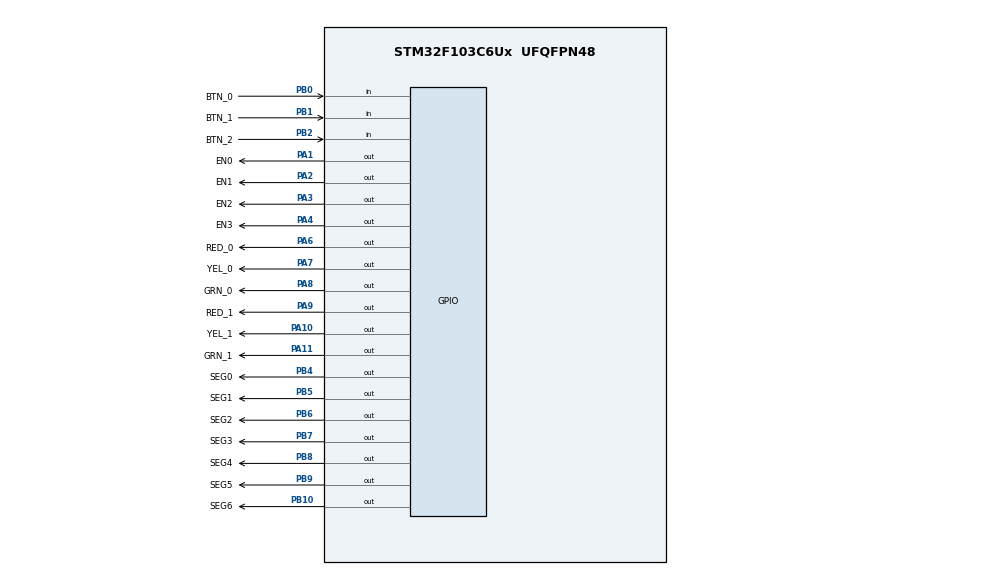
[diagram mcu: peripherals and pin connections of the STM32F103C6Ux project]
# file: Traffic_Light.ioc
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Mcu.Family=STM32F1
Mcu.Name=STM32F103C6Ux
Mcu.Package=UFQFPN48
NVIC.PriorityGroup=NVIC_PRIORITYGROUP_4
NVIC.TIM2_IRQn=true\:0\:0\:false\:false\:true\:true\:true\:true
PA1.GPIO_Label=EN0
PA1.Signal=GPIO_Output
PA10.GPIO_Label=YEL_1
PA10.Signal=GPIO_Output
PA11.GPIO_Label=GRN_1
PA11.Signal=GPIO_Output
PA13.Mode=Serial_Wire
PA13.Signal=SYS_JTMS-SWDIO
PA14.Mode=Serial_Wire
PA14.Signal=SYS_JTCK-SWCLK
PA2.GPIO_Label=EN1
PA2.Signal=GPIO_Output
PA3.GPIO_Label=EN2
PA3.Signal=GPIO_Output
PA4.GPIO_Label=EN3
PA4.Signal=GPIO_Output
PA6.GPIO_Label=RED_0
PA6.Signal=GPIO_Output
PA7.GPIO_Label=YEL_0
PA7.Signal=GPIO_Output
PA8.GPIO_Label=GRN_0
PA8.Signal=GPIO_Output
PA9.GPIO_Label=RED_1
PA9.Signal=GPIO_Output
PB0.GPIO_Label=BTN_0
PB0.Signal=GPIO_Input
PB1.GPIO_Label=BTN_1
PB1.Signal=GPIO_Input
PB10.GPIO_Label=SEG6
PB10.Signal=GPIO_Output
PB2.GPIO_Label=BTN_2
PB2.Signal=GPIO_Input
PB4.GPIO_Label=SEG0
PB4.Signal=GPIO_Output
PB5.GPIO_Label=SEG1
PB5.Signal=GPIO_Output
PB6.GPIO_Label=SEG2
PB6.Signal=GPIO_Output
PB7.GPIO_Label=SEG3
PB7.Signal=GPIO_Output
PB8.GPIO_Label=SEG4
PB8.Signal=GPIO_Output
PB9.GPIO_Label=SEG5
PB9.Signal=GPIO_Output
ProjectManager.HeapSize=0x200
ProjectManager.StackSize=0x400
ProjectManager.TargetToolchain=STM32CubeIDE
RCC.APB1Freq_Value=8000000
RCC.APB2Freq_Value=8000000
TIM2.Period=9
TIM2.Prescaler=7999
VP_TIM2_VS_ClockSourceINT.Mode=Internal
board=custom

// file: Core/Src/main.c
/* USER CODE BEGIN Header */
/**
  ******************************************************************************
  * @file           : main.c
  * @brief          : Main program body
  ******************************************************************************
  * @attention
  *
  * Copyright (c) 2022 STMicroelectronics.
  * All rights reserved.
  *
  * This software is licensed under terms that can be found in the LICENSE file
  * in the root directory of this software component.
  * If no LICENSE file comes with this software, it is provided AS-IS.
  *
  ******************************************************************************
  */
/* USER CODE END Header */
#include "main.h"
#include "tim.h"
#include "gpio.h"

/* USER CODE BEGIN Includes */
#include "global.h"
#include "input_reading.h"
#include "fsm_for_multi_mode.h"
/* USER CODE END Includes */

void SystemClock_Config(void);

int main(void)
{

  /* MCU Configuration--------------------------------------------------------*/

  /* Reset of all peripherals, Initializes the Flash interface and the Systick. */
  HAL_Init();

  /* Configure the system clock */
  SystemClock_Config();

  /* Initialize all configured peripherals */
  MX_GPIO_Init();
  MX_TIM2_Init();
  /* USER CODE BEGIN 2 */
  HAL_TIM_Base_Start_IT(&htim2);
  setTimer1(10);
  /* USER CODE END 2 */

  /* Infinite loop */
  /* USER CODE BEGIN WHILE */
  while (1)
  {
	  if(is_button_double_pressed(0)) {
		  HAL_GPIO_TogglePin(RED_0_GPIO_Port, RED_0_Pin);
	  }
	  if(is_button_pressed(0)) {
		  HAL_GPIO_TogglePin(YEL_0_GPIO_Port, YEL_0_Pin);
	  }
	  if(timer1_flag == 1 && is_button_hold(0)) {
		  setTimer1(500);
		  HAL_GPIO_TogglePin(GRN_0_GPIO_Port, GRN_0_Pin);
	  }
    /* USER CODE END WHILE */

  }
}

void SystemClock_Config(void)
{
  RCC_OscInitTypeDef RCC_OscInitStruct = {0};
  RCC_ClkInitTypeDef RCC_ClkInitStruct = {0};

  /** Initializes the RCC Oscillators according to the specified parameters
  * in the RCC_OscInitTypeDef structure.
  */
  RCC_OscInitStruct.OscillatorType = RCC_OSCILLATORTYPE_HSI;
  RCC_OscInitStruct.HSIState = RCC_HSI_ON;
  RCC_OscInitStruct.HSICalibrationValue = RCC_HSICALIBRATION_DEFAULT;
  RCC_OscInitStruct.PLL.PLLState = RCC_PLL_NONE;
  if (HAL_RCC_OscConfig(&RCC_OscInitStruct) != HAL_OK)
  {
    Error_Handler();
  }

  /** Initializes the CPU, AHB and APB buses clocks
  */
  RCC_ClkInitStruct.ClockType = RCC_CLOCKTYPE_HCLK|RCC_CLOCKTYPE_SYSCLK
                              |RCC_CLOCKTYPE_PCLK1|RCC_CLOCKTYPE_PCLK2;
  RCC_ClkInitStruct.SYSCLKSource = RCC_SYSCLKSOURCE_HSI;
  RCC_ClkInitStruct.AHBCLKDivider = RCC_SYSCLK_DIV1;
  RCC_ClkInitStruct.APB1CLKDivider = RCC_HCLK_DIV1;
  RCC_ClkInitStruct.APB2CLKDivider = RCC_HCLK_DIV1;

  if (HAL_RCC_ClockConfig(&RCC_ClkInitStruct, FLASH_LATENCY_0) != HAL_OK)
  {
    Error_Handler();
  }
}

/* USER CODE BEGIN 4 */
void HAL_TIM_PeriodElapsedCallback(TIM_HandleTypeDef *htim){
	if(htim->Instance == TIM2) {
		button_reading();
		timerRun();
	}
}
/* USER CODE END 4 */

void Error_Handler(void)
{
  __disable_irq();
  while (1)
  {
  }
}
